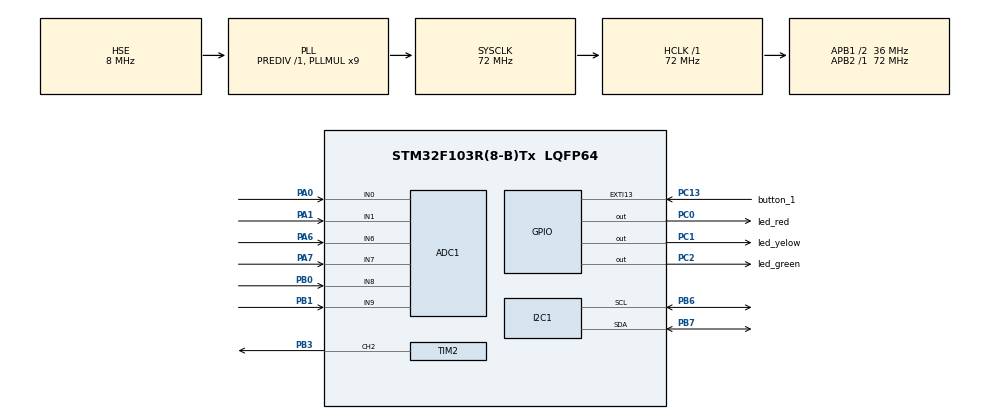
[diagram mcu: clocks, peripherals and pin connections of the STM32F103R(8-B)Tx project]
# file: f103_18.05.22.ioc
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ADC1.Channel-0\#ChannelRegularConversion=ADC_CHANNEL_0
ADC1.Channel-1\#ChannelRegularConversion=ADC_CHANNEL_1
ADC1.Channel-2\#ChannelRegularConversion=ADC_CHANNEL_6
ADC1.Channel-3\#ChannelRegularConversion=ADC_CHANNEL_7
ADC1.Channel-4\#ChannelRegularConversion=ADC_CHANNEL_8
ADC1.Channel-5\#ChannelRegularConversion=ADC_CHANNEL_9
ADC1.ContinuousConvMode=ENABLE
ADC1.NbrOfConversion=6
ADC1.NbrOfConversionFlag=1
ADC1.Rank-0\#ChannelRegularConversion=1
ADC1.Rank-1\#ChannelRegularConversion=2
ADC1.Rank-2\#ChannelRegularConversion=3
ADC1.Rank-3\#ChannelRegularConversion=4
ADC1.Rank-4\#ChannelRegularConversion=5
ADC1.Rank-5\#ChannelRegularConversion=6
ADC1.SamplingTime-0\#ChannelRegularConversion=ADC_SAMPLETIME_239CYCLES_5
ADC1.SamplingTime-1\#ChannelRegularConversion=ADC_SAMPLETIME_239CYCLES_5
ADC1.SamplingTime-2\#ChannelRegularConversion=ADC_SAMPLETIME_239CYCLES_5
ADC1.SamplingTime-3\#ChannelRegularConversion=ADC_SAMPLETIME_239CYCLES_5
ADC1.SamplingTime-4\#ChannelRegularConversion=ADC_SAMPLETIME_239CYCLES_5
ADC1.SamplingTime-5\#ChannelRegularConversion=ADC_SAMPLETIME_239CYCLES_5
ADC1.master=1
Dma.ADC1.0.Direction=DMA_PERIPH_TO_MEMORY
Dma.ADC1.0.Instance=DMA1_Channel1
Dma.ADC1.0.MemDataAlignment=DMA_MDATAALIGN_WORD
Dma.ADC1.0.MemInc=DMA_MINC_ENABLE
Dma.ADC1.0.Mode=DMA_CIRCULAR
Dma.ADC1.0.PeriphDataAlignment=DMA_PDATAALIGN_WORD
Dma.ADC1.0.PeriphInc=DMA_PINC_DISABLE
Dma.ADC1.0.Priority=DMA_PRIORITY_LOW
Dma.Request0=ADC1
Mcu.Family=STM32F1
Mcu.Name=STM32F103R(8-B)Tx
Mcu.Package=LQFP64
NVIC.DMA1_Channel1_IRQn=true\:0\:0\:false\:false\:true\:false\:true\:true
NVIC.EXTI15_10_IRQn=true\:0\:0\:false\:false\:true\:true\:true\:true
NVIC.PriorityGroup=NVIC_PRIORITYGROUP_4
PA0-WKUP.Signal=ADCx_IN0
PA1.Signal=ADCx_IN1
PA13.Mode=Serial_Wire
PA13.Signal=SYS_JTMS-SWDIO
PA14.Mode=Serial_Wire
PA14.Signal=SYS_JTCK-SWCLK
PA6.Signal=ADCx_IN6
PA7.Signal=ADCx_IN7
PB0.Signal=ADCx_IN8
PB1.Signal=ADCx_IN9
PB3.Signal=S_TIM2_CH2
PB6.Mode=I2C
PB6.Signal=I2C1_SCL
PB7.Mode=I2C
PB7.Signal=I2C1_SDA
PC0.GPIO_Label=led_red
PC0.Signal=GPIO_Output
PC1.GPIO_Label=led_yelow
PC1.Signal=GPIO_Output
PC13-TAMPER-RTC.GPIO_Label=button_1
PC13-TAMPER-RTC.GPIO_ModeDefaultEXTI=GPIO_MODE_IT_RISING
PC13-TAMPER-RTC.Signal=GPXTI13
PC2.GPIO_Label=led_green
PC2.Signal=GPIO_Output
PD0-OSC_IN.Mode=HSE-External-Oscillator
PD0-OSC_IN.Signal=RCC_OSC_IN
PD1-OSC_OUT.Mode=HSE-External-Oscillator
PD1-OSC_OUT.Signal=RCC_OSC_OUT
ProjectManager.HeapSize=0x200
ProjectManager.StackSize=0x400
ProjectManager.TargetToolchain=STM32CubeIDE
RCC.ADCPresc=RCC_ADCPCLK2_DIV6
RCC.AHBFreq_Value=72000000
RCC.APB1CLKDivider=RCC_HCLK_DIV2
RCC.APB1Freq_Value=36000000
RCC.APB1TimFreq_Value=72000000
RCC.APB2Freq_Value=72000000
RCC.APB2TimFreq_Value=72000000
RCC.HCLKFreq_Value=72000000
RCC.PLLMUL=RCC_PLL_MUL9
RCC.PLLSourceVirtual=RCC_PLLSOURCE_HSE
RCC.SYSCLKFreq_VALUE=72000000
RCC.SYSCLKSource=RCC_SYSCLKSOURCE_PLLCLK
RCC.USBFreq_Value=72000000
SH.ADCx_IN0.0=ADC1_IN0,IN0
SH.ADCx_IN1.0=ADC1_IN1,IN1
SH.ADCx_IN6.0=ADC1_IN6,IN6
SH.ADCx_IN7.0=ADC1_IN7,IN7
SH.ADCx_IN8.0=ADC1_IN8,IN8
SH.ADCx_IN9.0=ADC1_IN9,IN9
SH.S_TIM2_CH2.0=TIM2_CH2,PWM Generation2 CH2
TIM2.Channel-PWM\ Generation2\ CH2=TIM_CHANNEL_2
TIM2.Period=99
TIM2.Prescaler=719
VP_TIM2_VS_ClockSourceINT.Mode=Internal
board=custom

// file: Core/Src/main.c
/* USER CODE BEGIN Header */
/**
 ******************************************************************************
 * @file           : main.c
 * @brief          : Main program body
 ******************************************************************************
 * @attention
 *
 * Copyright (c) 2022 STMicroelectronics.
 * All rights reserved.
 *
 * This software is licensed under terms that can be found in the LICENSE file
 * in the root directory of this software component.
 * If no LICENSE file comes with this software, it is provided AS-IS.
 *
 ******************************************************************************
 */
/* USER CODE END Header */
#include "main.h"
#include "adc.h"
#include "dma.h"
#include "i2c.h"
#include "tim.h"
#include "gpio.h"

/* USER CODE BEGIN Includes */
#include <stdio.h>
#include <stdbool.h>
#include "lcd1602_i2c_lib.h"
/* USER CODE END Includes */

/* USER CODE BEGIN PD */
#define adc_buf_len 6
#define r1 6616.0f
#define r2 3300.0f
#define u_ref 3.30f
#define adc_max 4095.0f
#define koef_volt 0.17f
#define zero_off_volt 0.17f
#define middle_off_volt 0.02f
#define middle_volt_threashold 4.80f
#define low_threashold_battery 7.60f
#define high_threashold_battery 8.50f
#define medium_threashold_battery 7.80f
#define min_pressure_adc_1 (float)-100.0f
#define max_pressure_adc_1 (float)500.0f
#define min_pressure_adc_2 (float)-100.0f
#define max_pressure_adc_2 (float)500.0f
#define min_pressure_adc_3 (float)-100.0f
#define max_pressure_adc_3 (float)500.0f
#define min_pressure_adc_4 (float)-100.0f
#define max_pressure_adc_4 (float)500.0f
#define koeficient_adc_1 (float)4.0f
#define koeficient_adc_2 (float)4.0f
#define koeficient_adc_3 (float)4.0f
#define koeficient_adc_4 (float)4.0f

/* USER CODE END PD */

/* USER CODE BEGIN PV */
extern char lcd1602_tx_buffer[40];
uint8_t procent = 0;
uint8_t mode_lcd = 0;
unsigned long t_lcd = 0;

uint32_t adc_buffer[6];
uint32_t adc_value_1 = 0;
uint32_t adc_value_2 = 0;
uint32_t adc_value_3 = 0;
uint32_t adc_value_4 = 0;
uint32_t adc_value_5 = 0;
uint32_t adc_value_6 = 0;

float adc_value_1_filt = 0;
float adc_value_2_filt = 0;
float adc_value_3_filt = 0;
float adc_value_4_filt = 0;
float adc_value_5_filt = 0;
float adc_value_6_filt = 0;

float adc_volt_1 = 0.0f;
float adc_volt_2 = 0.0f;
float adc_volt_3 = 0.0f;
float adc_volt_4 = 0.0f;

float filtered_buf_1[100] = { 0, };
uint8_t filtered_buf_1_index = 0;
float summ_1 = 0.0f;
float filtered_buf_2[100] = { 0, };
uint8_t filtered_buf_2_index = 0;
float summ_2 = 0.0f;
float filtered_buf_5[100] = { 0, };
uint8_t filtered_buf_5_index = 0;
float summ_5 = 0.0f;
float filtered_buf_3[100] = { 0, };
uint8_t filtered_buf_3_index = 0;
float summ_3 = 0.0f;
float filtered_buf_4[100] = { 0, };
uint8_t filtered_buf_4_index = 0;
float summ_4 = 0.0f;
bool adc_flag = 0;
bool clear_flag = 0;

uint8_t filtration_step = 0;

float voltage = 0.0f;
float volt_var = 0.0f;

volatile bool button_flag = 0;
unsigned long t_led = 0;
unsigned long t_clear = 0;

float PR201 = 0.0f;
float PR202 = 0.0f;
float PR203 = 0.0f;
float PR204 = 0.0f;

uint8_t led_duty = 0;
unsigned long t_led_duty = 0;
bool mode_led = 0;
/* USER CODE END PV */

void SystemClock_Config(void);
/* USER CODE BEGIN PFP */
void get_adc(void);
void filter_adc(void);
void analog_pin_voltage(void);
void print_lcd(void);
void battery_voltage(void);
float map(float x, float in_min, float in_max, float out_min, float out_max);
void adc_1_to_val(void);
void adc_2_to_val(void);
void adc_3_to_val(void);
void adc_4_to_val(void);
void battery_capacity(void);
void disp_clear(void);
void led_duty_f(void);
void print_all_adc(void);
void print_first_adc(void);
void print_second_adc(void);
void print_third_adc(void);
void print_fourth_adc(void);
void print_fifth_adc(void);

/* USER CODE END PFP */

int main(void)
{
  /* USER CODE BEGIN 1 */
	t_lcd = HAL_GetTick();
	t_led = HAL_GetTick();
	t_clear = HAL_GetTick();
	t_led_duty = HAL_GetTick();

  /* USER CODE END 1 */

  /* MCU Configuration--------------------------------------------------------*/

  /* Reset of all peripherals, Initializes the Flash interface and the Systick. */
  HAL_Init();

  /* Configure the system clock */
  SystemClock_Config();

  /* Initialize all configured peripherals */
  MX_GPIO_Init();
  MX_DMA_Init();
  MX_ADC1_Init();
  MX_I2C1_Init();
  MX_TIM2_Init();
  /* USER CODE BEGIN 2 */
	HAL_TIM_PWM_Start(&htim2, TIM_CHANNEL_2);
	HAL_Delay(100);
	lcd1602_Init();
	while (1) {
		lcd1602_SetCursor(0, 0);
		sprintf(lcd1602_tx_buffer, "   Initialization");
		lcd1602_Print_text(lcd1602_tx_buffer);
		lcd1602_SetCursor(0, 1);
		sprintf(lcd1602_tx_buffer, " --- %d percent ---", procent);
		lcd1602_Print_text(lcd1602_tx_buffer);
		HAL_Delay(10);
		procent++;
		if (procent == 100) {
			lcd1602_SetCursor(0, 0);
			sprintf(lcd1602_tx_buffer, "   Initialization");
			lcd1602_Print_text(lcd1602_tx_buffer);
			lcd1602_SetCursor(0, 1);
			sprintf(lcd1602_tx_buffer, " --- %d percent ---", procent);
			lcd1602_Print_text(lcd1602_tx_buffer);
			lcd1602_SetCursor(0, 2);
			sprintf(lcd1602_tx_buffer, "       Ready     ");
			lcd1602_Print_text(lcd1602_tx_buffer);
			lcd1602_Clean_Text();
			break;
		}
	}
  /* USER CODE END 2 */

  /* Infinite loop */
  /* USER CODE BEGIN WHILE */
	while (1) {

		get_adc();
		filter_adc();
		adc_1_to_val();
		adc_2_to_val();
		adc_3_to_val();
		adc_4_to_val();
		battery_voltage();
		analog_pin_voltage();
		print_lcd();
		disp_clear();
		battery_capacity();
		led_duty_f();
    /* USER CODE END WHILE */

	}
}

void SystemClock_Config(void)
{
  RCC_OscInitTypeDef RCC_OscInitStruct = {0};
  RCC_ClkInitTypeDef RCC_ClkInitStruct = {0};
  RCC_PeriphCLKInitTypeDef PeriphClkInit = {0};

  /** Initializes the RCC Oscillators according to the specified parameters
  * in the RCC_OscInitTypeDef structure.
  */
  RCC_OscInitStruct.OscillatorType = RCC_OSCILLATORTYPE_HSE;
  RCC_OscInitStruct.HSEState = RCC_HSE_ON;
  RCC_OscInitStruct.HSEPredivValue = RCC_HSE_PREDIV_DIV1;
  RCC_OscInitStruct.HSIState = RCC_HSI_ON;
  RCC_OscInitStruct.PLL.PLLState = RCC_PLL_ON;
  RCC_OscInitStruct.PLL.PLLSource = RCC_PLLSOURCE_HSE;
  RCC_OscInitStruct.PLL.PLLMUL = RCC_PLL_MUL9;
  if (HAL_RCC_OscConfig(&RCC_OscInitStruct) != HAL_OK)
  {
    Error_Handler();
  }

  /** Initializes the CPU, AHB and APB buses clocks
  */
  RCC_ClkInitStruct.ClockType = RCC_CLOCKTYPE_HCLK|RCC_CLOCKTYPE_SYSCLK
                              |RCC_CLOCKTYPE_PCLK1|RCC_CLOCKTYPE_PCLK2;
  RCC_ClkInitStruct.SYSCLKSource = RCC_SYSCLKSOURCE_PLLCLK;
  RCC_ClkInitStruct.AHBCLKDivider = RCC_SYSCLK_DIV1;
  RCC_ClkInitStruct.APB1CLKDivider = RCC_HCLK_DIV2;
  RCC_ClkInitStruct.APB2CLKDivider = RCC_HCLK_DIV1;

  if (HAL_RCC_ClockConfig(&RCC_ClkInitStruct, FLASH_LATENCY_2) != HAL_OK)
  {
    Error_Handler();
  }
  PeriphClkInit.PeriphClockSelection = RCC_PERIPHCLK_ADC;
  PeriphClkInit.AdcClockSelection = RCC_ADCPCLK2_DIV6;
  if (HAL_RCCEx_PeriphCLKConfig(&PeriphClkInit) != HAL_OK)
  {
    Error_Handler();
  }
}

/* USER CODE BEGIN 4 */
void get_adc() {
	HAL_ADC_Start_DMA(&hadc1, adc_buffer, adc_buf_len);
	adc_value_1 = adc_buffer[0];
	adc_value_2 = adc_buffer[1];
	adc_value_3 = adc_buffer[2];
	adc_value_4 = adc_buffer[3];
	adc_value_5 = adc_buffer[4];
	adc_value_6 = adc_buffer[5];
	adc_flag = 1;
}

void filter_adc() {
	if (adc_flag) {
		adc_flag = 0;
		if (filtered_buf_1_index >= 0 && filtration_step == 0) {
			filtered_buf_1[filtered_buf_1_index] = (float) adc_value_1;
			if (filtered_buf_1_index == 99) {
				for (int i = 0; i <= 99; i++) {
					summ_1 = summ_1 + filtered_buf_1[i];

				}
				adc_value_1_filt = summ_1 / 100;
				summ_1 = 0.0f;
				filtered_buf_1_index = 0;
			} else {
				filtered_buf_1_index++;
			}
		}
		if (filtered_buf_2_index >= 0 && filtration_step == 0) {
			filtered_buf_2[filtered_buf_2_index] = (float) adc_value_2;
			if (filtered_buf_2_index == 99) {
				for (int i = 0; i <= 99; i++) {
					summ_2 = summ_2 + filtered_buf_2[i];

				}
				adc_value_2_filt = summ_2 / 100;
				summ_2 = 0.0f;
				filtered_buf_2_index = 0;
			} else {
				filtered_buf_2_index++;
			}
		}
		if (filtered_buf_5_index >= 0 && filtration_step == 0) {
			filtered_buf_5[filtered_buf_5_index] = (float) adc_value_5;
			if (filtered_buf_5_index == 99) {
				for (int i = 0; i <= 99; i++) {
					summ_5 = summ_5 + filtered_buf_5[i];

				}
				adc_value_5_filt = summ_5 / 100;
				summ_5 = 0.0f;
				filtered_buf_5_index = 0;
			} else {
				filtered_buf_5_index++;
			}
		}
		if (filtered_buf_3_index >= 0 && filtration_step == 0) {
			filtered_buf_3[filtered_buf_3_index] = (float) adc_value_3;
			if (filtered_buf_3_index == 99) {
				for (int i = 0; i <= 99; i++) {
					summ_3 = summ_3 + filtered_buf_3[i];

				}
				adc_value_3_filt = summ_3 / 100;
				summ_3 = 0.0f;
				filtered_buf_3_index = 0;
			} else {
				filtered_buf_3_index++;
			}
		}
		if (filtered_buf_4_index >= 0 && filtration_step == 0) {
			filtered_buf_4[filtered_buf_4_index] = (float) adc_value_4;
			if (filtered_buf_4_index == 99) {
				for (int i = 0; i <= 99; i++) {
					summ_4 = summ_4 + filtered_buf_4[i];

				}
				adc_value_4_filt = summ_4 / 100;
				summ_4 = 0.0f;
				filtered_buf_4_index = 0;
			} else {
				filtered_buf_4_index++;
			}
		}
	}
}

void print_lcd() {
	if (HAL_GetTick() - t_lcd > 300) {
		switch (mode_lcd) {
		case 0:
			print_all_adc();
			break;
		case 1:
			print_first_adc();
			break;
		case 2:
			print_second_adc();
			break;
		case 3:
			print_third_adc();
			break;
		case 4:
			print_fourth_adc();
			break;
		case 5:
			print_fifth_adc();
			break;
		}
	}

}

void battery_voltage() {
	volt_var = ((float) adc_value_5_filt * u_ref) / adc_max;
	voltage = (volt_var / (r2 / (r1 + r2))) + koef_volt;
	if (voltage <= zero_off_volt) {
		voltage = 0.0f;
	} else if (voltage >= middle_volt_threashold) {
		voltage = voltage + middle_off_volt;
	}
}

void analog_pin_voltage() {
	adc_volt_1 = (float) (adc_value_1_filt * u_ref) / adc_max;
	adc_volt_2 = (float) (adc_value_2_filt * u_ref) / adc_max;
	adc_volt_3 = (float) (adc_value_3_filt * u_ref) / adc_max;
	adc_volt_4 = (float) (adc_value_4_filt * u_ref) / adc_max;
}

void HAL_GPIO_EXTI_Callback(uint16_t GPIO_Pin) {
	if (GPIO_Pin == GPIO_PIN_13) {
		if (mode_lcd < 5) {
			mode_lcd = mode_lcd + 1;
			clear_flag = 1;
		} else {
			mode_lcd = 0;
			clear_flag = 1;
		}

	}
}

void disp_clear() {
	if (clear_flag) {
		lcd1602_Clean_Text();
		clear_flag = 0;
	}
}

float map(float x, float in_min, float in_max, float out_min, float out_max) {
	return (x - in_min) * (out_max - out_min) / (in_max - in_min) + out_min;
}

void adc_1_to_val() {
	PR201 = map(adc_value_1_filt, 0, adc_max, min_pressure_adc_1,
	max_pressure_adc_1);
}

void adc_2_to_val() {
	PR202 = map(adc_value_2_filt, 0, adc_max, min_pressure_adc_2,
	max_pressure_adc_2);
}

void adc_3_to_val() {
	PR203 = map(adc_value_3_filt, 0, adc_max, min_pressure_adc_3,
	max_pressure_adc_3);
}

void adc_4_to_val() {
	PR204 = map(adc_value_4_filt, 0, adc_max, min_pressure_adc_4,
	max_pressure_adc_4);
}

void battery_capacity() {
	if ((voltage < high_threashold_battery)
			&& (voltage > medium_threashold_battery)) {
		GPIOC->BSRR = led_green_Pin;
		GPIOC->BSRR = led_yelow_Pin;
		GPIOC->BSRR = led_red_Pin;

	}

	else if ((voltage < medium_threashold_battery)
			&& (voltage > low_threashold_battery)) {
		GPIOC->BSRR = (uint32_t) led_green_Pin << 16;
		GPIOC->BSRR = led_yelow_Pin;
		GPIOC->BSRR = led_red_Pin;
	} else if (voltage < low_threashold_battery) {
		if (HAL_GetTick() - t_led > 100) {
			t_led = HAL_GetTick();
			GPIOC->BSRR = (uint32_t) led_green_Pin << 16;
			GPIOC->BSRR = (uint32_t) led_yelow_Pin << 16;
			HAL_GPIO_TogglePin(GPIOC, led_red_Pin);
		}
	}
}

void led_duty_f() {
	if ((HAL_GetTick() - t_led_duty > 25) && (mode_led == 0)) {
		t_led_duty = HAL_GetTick();
		TIM2->CCR2 = led_duty;
		led_duty = led_duty + 1;
		if (led_duty == 99) {
			mode_led = 1;
		}
	} else if ((HAL_GetTick() - t_led_duty > 25) && (mode_led == 1)) {
		t_led_duty = HAL_GetTick();
		TIM2->CCR2 = led_duty;
		led_duty = led_duty - 1;
		if (led_duty == 0) {
			mode_led = 0;
		}

	}
}

void print_all_adc() {
	t_lcd = HAL_GetTick();
	if((int32_t)PR201 > (-10))
	{
		lcd1602_SetCursor(0, 0);
		sprintf(lcd1602_tx_buffer, "PR201 %.0f mBar     ", (PR201 + koeficient_adc_1));
		lcd1602_Print_text(lcd1602_tx_buffer);
	}
	else
	{
		lcd1602_SetCursor(0, 0);
		sprintf(lcd1602_tx_buffer, "PR201 %.0f mBar     ", PR201);
		lcd1602_Print_text(lcd1602_tx_buffer);
	}
	if((int32_t)PR202 > (-10))
	{
		lcd1602_SetCursor(0, 1);
		sprintf(lcd1602_tx_buffer, "PR202 %.0f mBar     ", (PR202 + koeficient_adc_2));
		lcd1602_Print_text(lcd1602_tx_buffer);
	}
	else
	{
		lcd1602_SetCursor(0, 1);
		sprintf(lcd1602_tx_buffer, "PR202 %.0f mBar     ", PR202);
		lcd1602_Print_text(lcd1602_tx_buffer);
	}
	if((int32_t)PR203 > (-10))
	{
		lcd1602_SetCursor(0, 2);
		sprintf(lcd1602_tx_buffer, "PR203 %.0f mBar     ", (PR203 + koeficient_adc_3));
		lcd1602_Print_text(lcd1602_tx_buffer);
	}
	else
	{
		lcd1602_SetCursor(0, 2);
		sprintf(lcd1602_tx_buffer, "PR203 %.0f mBar     ", PR203);
		lcd1602_Print_text(lcd1602_tx_buffer);
	}
	if((int32_t)PR204 > (-10))
	{
		lcd1602_SetCursor(0, 3);
		sprintf(lcd1602_tx_buffer, "PR204 %.0f mBar    ", (PR204 + koeficient_adc_4));
		lcd1602_Print_text(lcd1602_tx_buffer);
	}
	else
	{
		lcd1602_SetCursor(0, 3);
		sprintf(lcd1602_tx_buffer, "PR204 %.0f mBar    ", PR204);
		lcd1602_Print_text(lcd1602_tx_buffer);
	}

}

void print_first_adc() {
	t_lcd = HAL_GetTick();
	lcd1602_SetCursor(0, 0);
	sprintf(lcd1602_tx_buffer, "adc 1 is %.2f      ", adc_value_1_filt);
	lcd1602_Print_text(lcd1602_tx_buffer);
	lcd1602_SetCursor(0, 1);
	sprintf(lcd1602_tx_buffer, "adc 1 volt is %.2f ", adc_volt_1);
	lcd1602_Print_text(lcd1602_tx_buffer);
	lcd1602_SetCursor(0, 2);
	sprintf(lcd1602_tx_buffer, "PR201  %.2f kPa    ", PR201);
	lcd1602_Print_text(lcd1602_tx_buffer);
	lcd1602_SetCursor(0, 3);
	sprintf(lcd1602_tx_buffer, "                   ");
	lcd1602_Print_text(lcd1602_tx_buffer);
}

void print_second_adc() {
	t_lcd = HAL_GetTick();
	lcd1602_SetCursor(0, 0);
	sprintf(lcd1602_tx_buffer, "adc 2 is %.2f       ", adc_value_2_filt);
	lcd1602_Print_text(lcd1602_tx_buffer);
	lcd1602_SetCursor(0, 1);
	sprintf(lcd1602_tx_buffer, "adc 2 volt is %.2f  ", adc_volt_2);
	lcd1602_Print_text(lcd1602_tx_buffer);
	lcd1602_SetCursor(0, 2);
	sprintf(lcd1602_tx_buffer, "PR202 %.2f kPa      ", PR202);
	lcd1602_Print_text(lcd1602_tx_buffer);
	lcd1602_SetCursor(0, 3);
	sprintf(lcd1602_tx_buffer, "                   ");
	lcd1602_Print_text(lcd1602_tx_buffer);
}

void print_third_adc() {
	t_lcd = HAL_GetTick();
	lcd1602_SetCursor(0, 0);
	sprintf(lcd1602_tx_buffer, "adc 3 is %.2f       ", adc_value_3_filt);
	lcd1602_Print_text(lcd1602_tx_buffer);
	lcd1602_SetCursor(0, 1);
	sprintf(lcd1602_tx_buffer, "adc 3 volt is %.2f  ", adc_volt_3);
	lcd1602_Print_text(lcd1602_tx_buffer);
	lcd1602_SetCursor(0, 2);
	sprintf(lcd1602_tx_buffer, "PR203 %.2f kPa      ", PR203);
	lcd1602_Print_text(lcd1602_tx_buffer);
	lcd1602_SetCursor(0, 3);
	sprintf(lcd1602_tx_buffer, "                    ");
	lcd1602_Print_text(lcd1602_tx_buffer);
}

void print_fourth_adc() {
	t_lcd = HAL_GetTick();
	lcd1602_SetCursor(0, 0);
	sprintf(lcd1602_tx_buffer, "adc 4 is %.2f       ", adc_value_4_filt);
	lcd1602_Print_text(lcd1602_tx_buffer);
	lcd1602_SetCursor(0, 1);
	sprintf(lcd1602_tx_buffer, "adc 4 volt is %.2f  ", adc_volt_4);
	lcd1602_Print_text(lcd1602_tx_buffer);
	lcd1602_SetCursor(0, 2);
	sprintf(lcd1602_tx_buffer, "TR101 %.1f celsius  ", PR204);
	lcd1602_Print_text(lcd1602_tx_buffer);
	lcd1602_SetCursor(0, 3);
	sprintf(lcd1602_tx_buffer, "                   ");
	lcd1602_Print_text(lcd1602_tx_buffer);
}

void print_fifth_adc() {
	t_lcd = HAL_GetTick();
	lcd1602_SetCursor(0, 0);
	sprintf(lcd1602_tx_buffer, "adc 5 is %.2f      ", adc_value_5_filt);
	lcd1602_Print_text(lcd1602_tx_buffer);
	lcd1602_SetCursor(0, 1);
	sprintf(lcd1602_tx_buffer, "Battery volt  %.2f", voltage);
	lcd1602_Print_text(lcd1602_tx_buffer);
	lcd1602_SetCursor(0, 2);
	sprintf(lcd1602_tx_buffer, "                  ");
	lcd1602_Print_text(lcd1602_tx_buffer);
	lcd1602_SetCursor(0, 3);
	sprintf(lcd1602_tx_buffer, "                  ");
	lcd1602_Print_text(lcd1602_tx_buffer);
}
/* USER CODE END 4 */

void Error_Handler(void)
{
	__disable_irq();
	while (1) {
	}
}
